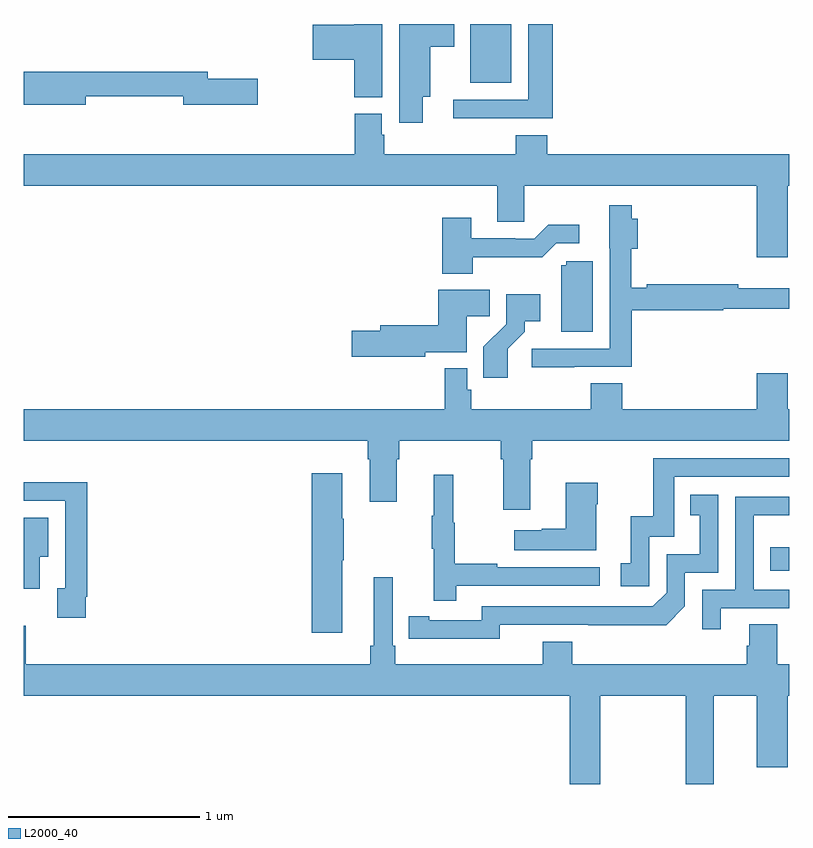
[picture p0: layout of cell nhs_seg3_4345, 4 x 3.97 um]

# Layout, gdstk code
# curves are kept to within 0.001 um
import gdstk
lib = gdstk.Library(unit=1e-6, precision=1e-09)
def R(c, l, rs):  # rectangles x0, y0, x1, y1
    for r in rs: c.add(gdstk.rectangle(r[:2], r[2:], *l))
def P(c, l, *ps):  # polygons
    for p in ps: c.add(gdstk.Polygon(p, *l))
L2000_40 = (2000, 40)

nhs_seg3_4345 = lib.new_cell('nhs_seg3_4345')
R(nhs_seg3_4345, L2000_40, [(344.899,725.544,345,725.667), (343.334,728.093,343.546,728.4)])
P(nhs_seg3_4345, L2000_40, [(343.084,728.021),(343.123,728.021),(343.123,728.282),(343.249,728.282),(343.249,728.4),(342.962,728.4),(342.962,727.884),(343.084,727.884)],
  [(343.763,728.4),(343.637,728.4),(343.637,728.004),(343.245,728.004),(343.245,727.907),(343.763,727.907)],
  [(342.874,728.4),(342.728,728.4),(342.728,728.396),(342.51,728.396),(342.51,728.213),(342.728,728.213),(342.728,728.017),(342.874,728.017)],
  [(341.326,728.022),(341.834,728.022),(341.834,727.979),(342.223,727.979),(342.223,728.114),(341.962,728.114),(341.962,728.15),(341,728.15),(341,727.979),(341.326,727.979)],
  [(344.992,727.556),(345,727.556),(345,727.72),(343.736,727.72),(343.736,727.819),(343.571,727.819),(343.571,727.72),(342.884,727.72),(342.884,727.821),(342.871,727.821),(342.871,727.932),(342.731,727.932),(342.731,727.72),(341,727.72),(341,727.556),(343.475,727.556),(343.475,727.366),(343.614,727.366),(343.614,727.556),(344.828,727.556),(344.828,727.182),(344.992,727.182)],
  [(343.877,726.609),(344.177,726.609),(344.177,726.904),(344.654,726.904),(344.654,726.912),(345,726.912),(345,727.021),(344.732,727.021),(344.732,727.04),(344.254,727.04),(344.254,727.022),(344.173,727.022),(344.173,727.226),(344.207,727.226),(344.207,727.384),(344.177,727.384),(344.177,727.453),(344.06,727.453),(344.06,727.23),(344.061,727.23),(344.061,726.705),(343.653,726.705),(343.653,726.607),(343.877,726.607)],
  [(343.347,727.182),(343.709,727.181),(343.782,727.254),(343.903,727.254),(343.903,727.351),(343.741,727.351),(343.668,727.278),(343.568,727.278),(343.568,727.281),(343.339,727.281),(343.339,727.387),(343.187,727.387),(343.187,727.097),(343.347,727.097)],
  [(343.972,727.161),(343.833,727.161),(343.833,727.14),(343.808,727.14),(343.808,726.792),(343.972,726.792)],
  [(343.098,726.686),(343.315,726.686),(343.315,726.874),(343.436,726.874),(343.436,727.012),(343.166,727.012),(343.166,726.827),(342.863,726.827),(342.863,726.797),(342.714,726.797),(342.714,726.662),(343.098,726.662)],
  [(343.528,726.703),(343.618,726.793),(343.618,726.848),(343.699,726.848),(343.699,726.988),(343.521,726.988),(343.521,726.833),(343.402,726.714),(343.402,726.552),(343.528,726.552)],
  [(343.645,726.128),(343.658,726.128),(343.658,726.224),(345,726.224),(345,726.388),(344.992,726.388),(344.992,726.577),(344.828,726.577),(344.828,726.388),(344.126,726.388),(344.126,726.524),(343.961,726.524),(343.961,726.388),(343.337,726.388),(343.337,726.489),(343.317,726.489),(343.317,726.601),(343.201,726.601),(343.201,726.388),(341,726.388),(341,726.224),(342.797,726.224),(342.797,726.128),(342.809,726.128),(342.809,725.904),(342.949,725.904),(342.949,726.128),(342.962,726.128),(342.962,726.224),(343.493,726.224),(343.493,726.128),(343.505,726.128),(343.505,725.862),(343.645,725.862)],
  [(344.268,725.721),(344.397,725.721),(344.397,726.036),(345,726.036),(345,726.132),(344.289,726.132),(344.289,725.83),(344.171,725.83),(344.171,725.583),(344.118,725.583),(344.118,725.463),(344.268,725.463)],
  [(342.664,725.599),(342.672,725.599),(342.672,725.816),(342.664,725.816),(342.664,726.055),(342.506,726.055),(342.506,725.22),(342.664,725.22)],
  [(343.259,725.466),(344.008,725.466),(344.008,725.562),(343.475,725.562),(343.475,725.582),(343.252,725.582),(343.252,725.796),(343.244,725.796),(343.244,726.046),(343.142,726.046),(343.142,725.833),(343.131,725.833),(343.131,725.659),(343.142,725.659),(343.142,725.388),(343.259,725.388)],
  [(341.326,725.41),(341.333,725.41),(341.333,726.008),(341.041,726.008),(341.041,726.006),(341,726.006),(341,725.91),(341.217,725.91),(341.217,725.454),(341.177,725.454),(341.177,725.298),(341.326,725.298)],
  [(343.99,725.891),(343.998,725.891),(343.998,726.004),(343.832,726.004),(343.832,725.765),(343.706,725.765),(343.706,725.755),(343.563,725.755),(343.563,725.651),(343.99,725.651)],
  [(343.488,725.262),(344.356,725.261),(344.454,725.358),(344.454,725.535),(344.628,725.535),(344.628,725.941),(344.482,725.941),(344.482,725.835),(344.531,725.835),(344.531,725.631),(344.358,725.631),(344.358,725.43),(344.286,725.358),(343.392,725.358),(343.392,725.286),(343.12,725.286),(343.12,725.306),(343.012,725.306),(343.012,725.19),(343.488,725.189)],
  [(344.641,725.349),(345,725.349),(345,725.445),(344.814,725.445),(344.814,725.834),(345,725.834),(345,725.931),(344.718,725.931),(344.718,725.445),(344.544,725.445),(344.544,725.238),(344.641,725.238)],
  [(341.086,725.618),(341.128,725.618),(341.128,725.821),(341,725.821),(341,725.45),(341.086,725.45)],
  [(344.013,724.892),(344.458,724.892),(344.458,724.431),(344.605,724.431),(344.605,724.892),(344.828,724.892),(344.828,724.518),(344.992,724.518),(344.992,724.892),(345,724.892),(345,725.056),(344.937,725.056),(344.937,725.264),(344.789,725.264),(344.789,725.154),(344.777,725.154),(344.777,725.056),(343.865,725.056),(343.865,725.173),(343.712,725.173),(343.712,725.056),(342.941,725.056),(342.941,725.152),(342.927,725.152),(342.927,725.512),(342.83,725.512),(342.83,725.152),(342.811,725.152),(342.811,725.056),(341.012,725.056),(341.012,725.258),(341,725.258),(341,724.892),(343.853,724.892),(343.853,724.431),(344.013,724.431)])

lib.write_gds('nhs_seg3_4345.gds')
